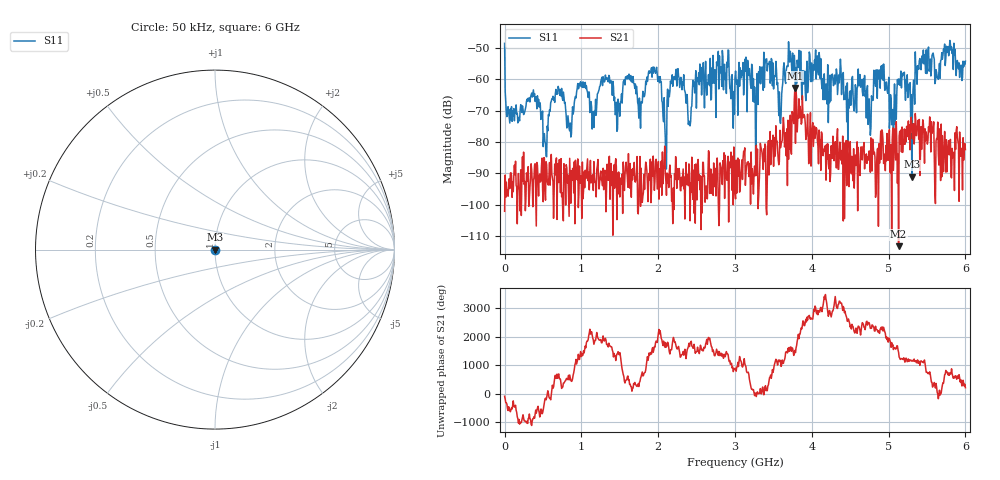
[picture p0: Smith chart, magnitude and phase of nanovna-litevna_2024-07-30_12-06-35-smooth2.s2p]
! NanoVNA-App by OneOfEleven et al v1.1.209 (+OD15)
! Date: 2024-07-30 12:06:54
! Start: 50kHz Stop: 6GHz Points: 801
! S-Parameter data: F S11 S21 S12 S22
# Hz S RI R 50
!  Frequency  S11_Real  S11_Imag  S21_Real  S21_Imag  S12_Real  S12_Imag  S22_Real  S22_Imag
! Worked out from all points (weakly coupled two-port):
!   801 points, 50 kHz to 6 GHz, reference 50 ohm
!   highest |S21| = -62.75 dB at 3.78 GHz (marker M1); lowest = -113.2 dB at 5.13 GHz (marker M2)
!   lowest |S11| = -91.1 dB at 5.303 GHz (marker M3), VSWR 1.00, Z = 50 + j0.00144 ohm
!   |S11| at or under -10 dB: start of sweep to end of sweep
!   S12 and S22 are empty: the file has one direction only
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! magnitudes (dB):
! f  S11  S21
! 50 kHz  -48.5  -102.1
! 52.55 MHz  -70.3  -94.7
! 382.5 MHz  -65.5  -91.4
! 532.5 MHz  -80.5  -98.6
! 682.5 MHz  -63.9  -104.7
! 840 MHz  -75.7  -103.7
! 1.005 GHz  -61.3  -104.4
! 1.358 GHz  -58.8  -84.9
! 1.47 GHz  -76.0  -89.9
! 2.003 GHz  -59.4  -86.2
! 2.078 GHz  -65.9  -88.4
! 2.228 GHz  -58.1  -84.7
! 2.408 GHz  -74.6  -90.3
! 2.79 GHz  -63.1  -106.7
! 3 GHz  -59.5  -96.4
! 3.78 GHz  -55.8  -62.8
! 4.005 GHz  -60.5  -75.7
! 5.003 GHz  -59.4  -82.6
! 5.13 GHz  -59.9  -113.2
! 5.303 GHz  -91.1  -74.4
! 5.438 GHz  -52.5  -77.2
! 6 GHz  -54.2  -82.4
